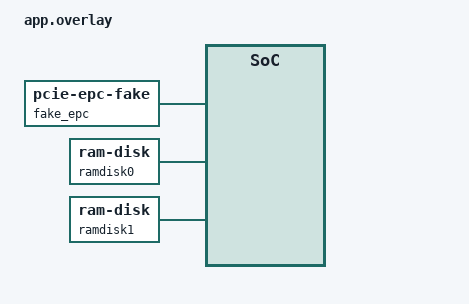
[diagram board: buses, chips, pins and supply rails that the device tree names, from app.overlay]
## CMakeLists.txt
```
# SPDX-License-Identifier: Apache-2.0

cmake_minimum_required(VERSION 3.20.0)
find_package(Zephyr REQUIRED HINTS $ENV{ZEPHYR_BASE})
project(pcie_epf_nvme)

target_sources(app PRIVATE src/main.c src/fake_epc.c)
target_include_directories(app PRIVATE ${ZEPHYR_BASE}/drivers/pcie/endpoint/functions)
```

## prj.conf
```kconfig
CONFIG_ZTEST=y
CONFIG_PCIE_ENDPOINT=y
CONFIG_PCIE_EPC=y
CONFIG_DISK_ACCESS=y
CONFIG_DISK_DRIVERS=y
CONFIG_DISK_DRIVER_RAM=y
CONFIG_LOG=y
CONFIG_PCIE_EP_LOG_LEVEL_INF=y
CONFIG_PCIE_EPF_NVME_MAX_IO_QUEUES=4
CONFIG_PCIE_EPF_NVME_MDTS_KB=32
# simulated time only moves when every thread sleeps
CONFIG_PCIE_EPF_NVME_BUSY_POLL_MS=0
CONFIG_PCIE_EPF_NVME_IDLE_POLL_US=100
CONFIG_PCIE_EPF_NVME_CC_POLL_MS=1
CONFIG_ZTEST_STACK_SIZE=8192
```

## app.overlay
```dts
/*
 * Copyright (c) 2026 Jiri Kastner
 * SPDX-License-Identifier: Apache-2.0
 */

/ {
	fake_epc: pcie-ep-fake {
		compatible = "zephyr,pcie-epc-fake";
		#address-cells = <1>;
		#size-cells = <0>;

		nvme0: function@0 {
			compatible = "zephyr,pcie-epf-nvme";
			reg = <0>;
			vendor-id = <0x11ab>;
			device-id = <0x0100>;
			/* replaced by the NVMe class */
			class-code = <0xff0000>;
			/* the third one does not exist: inactive namespace */
			disk-names = "RAM0", "RAM1", "NONE";
			io-queues = <3>;
			max-queue-entries = <64>;
			msix-interrupts = <8>;
		};
	};

	ramdisk0 {
		compatible = "zephyr,ram-disk";
		disk-name = "RAM0";
		sector-size = <512>;
		sector-count = <512>;
	};

	ramdisk1 {
		compatible = "zephyr,ram-disk";
		disk-name = "RAM1";
		sector-size = <4096>;
		sector-count = <32>;
	};
};
```

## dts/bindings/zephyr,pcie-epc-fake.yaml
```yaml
# Copyright (c) 2026 Jiri Kastner
# SPDX-License-Identifier: Apache-2.0

description: Test endpoint controller, host memory simulated in RAM

compatible: "zephyr,pcie-epc-fake"

include: pcie-ep-controller.yaml
```

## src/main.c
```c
/*
 * Copyright (c) 2026 Jiri Kastner
 *
 * SPDX-License-Identifier: Apache-2.0
 *
 * NVMe endpoint function against a fake controller: the test is the host
 * driver. It programs BAR0, places queues and data in the simulated host
 * memory, rings doorbells and checks completions, data on the RAM disks
 * and the interrupts raised.
 */

#include <string.h>
#include <zephyr/kernel.h>
#include <zephyr/ztest.h>
#include <zephyr/storage/disk_access.h>
#include <zephyr/sys/byteorder.h>
#include <zephyr/drivers/pcie/endpoint/pcie_epc.h>

#include "fake_epc.h"
#include "pcie_epf_nvme.h"

/* host memory layout */
#define ASQ    (HOST_BASE + 0x0000)
#define ACQ    (HOST_BASE + 0x1000)
#define IOSQ1  (HOST_BASE + 0x2000)
#define IOCQ1  (HOST_BASE + 0x3000)
#define IDBUF  (HOST_BASE + 0x4000)
#define PRPL   (HOST_BASE + 0x5000)
#define PRPL2  (HOST_BASE + 0x6000)
#define DATA   (HOST_BASE + 0x10000)
#define DATA2  (HOST_BASE + 0x30000)

#define ADMIN_DEPTH 8
#define IO_DEPTH    4

struct hq {
	uint64_t base;
	uint16_t qid;
	uint16_t depth;
	uint16_t idx;
	uint8_t phase;
};

static struct hq asq, acq, sq1, cq1;
static uint16_t next_cid;

static volatile uint32_t *bar(uint32_t off)
{
	return (volatile uint32_t *)((uint8_t *)fake_bar0.virt + off);
}

static uint32_t rd(uint32_t off)
{
	return *bar(off);
}

static void wr(uint32_t off, uint32_t v)
{
	*bar(off) = v;
}

static bool wait_csts(uint32_t mask, uint32_t val)
{
	for (int i = 0; i < 1000; i++) {
		if ((rd(NVME_REG_CSTS) & mask) == val) {
			return true;
		}
		k_sleep(K_MSEC(1));
	}
	return false;
}

/* submit, wait for the completion; returns the status field (no phase) */
static int submit(struct hq *sq, struct hq *cq, struct nvme_sqe *e, uint32_t *dw0)
{
	struct nvme_cqe *c;
	uint16_t cid = next_cid++;

	e->dw[0] = (e->dw[0] & 0xffffU) | ((uint32_t)cid << 16);
	memcpy(host_ptr(sq->base + sq->idx * 64U), e, 64);
	sq->idx = (sq->idx + 1U) % sq->depth;
	wr(NVME_SQ_DB(sq->qid), sq->idx);

	c = host_ptr(cq->base + cq->idx * 16U);
	for (int i = 0; i < 2000; i++) {
		if ((c->status & 1U) == cq->phase) {
			int status = c->status >> 1;

			zassert_equal(c->cid, cid, "cid %u, want %u", c->cid, cid);
			zassert_equal(c->sqid, sq->qid);
			zassert_equal(c->sqhd, sq->idx, "sqhd %u, want %u", c->sqhd, sq->idx);
			if (dw0 != NULL) {
				*dw0 = c->dw0;
			}
			cq->idx++;
			if (cq->idx == cq->depth) {
				cq->idx = 0;
				cq->phase ^= 1U;
			}
			wr(NVME_CQ_DB(cq->qid), cq->idx);
			return status;
		}
		k_sleep(K_MSEC(1));
	}
	return -ETIMEDOUT;
}

static int admin(struct nvme_sqe *e, uint32_t *dw0)
{
	return submit(&asq, &acq, e, dw0);
}

static int io(struct nvme_sqe *e)
{
	return submit(&sq1, &cq1, e, NULL);
}

static void ctrl_off(void)
{
	wr(NVME_REG_CC, 0);
	zassert_true(wait_csts(NVME_CSTS_RDY, 0), "RDY stays set");
}

static void ctrl_on(void)
{
	ctrl_off();
	memset(fake_host_mem, 0, 0x10000);
	asq = (struct hq){.base = ASQ, .qid = 0, .depth = ADMIN_DEPTH};
	acq = (struct hq){.base = ACQ, .qid = 0, .depth = ADMIN_DEPTH, .phase = 1};
	wr(NVME_REG_AQA, ((ADMIN_DEPTH - 1U) << 16) | (ADMIN_DEPTH - 1U));
	wr(NVME_REG_ASQ, (uint32_t)ASQ);
	wr(NVME_REG_ASQ + 4, (uint32_t)(ASQ >> 32));
	wr(NVME_REG_ACQ, (uint32_t)ACQ);
	wr(NVME_REG_ACQ + 4, (uint32_t)(ACQ >> 32));
	wr(NVME_REG_CC, NVME_CC_EN | (NVME_SQES << 16) | (NVME_CQES << 20));
	zassert_true(wait_csts(NVME_CSTS_RDY, NVME_CSTS_RDY), "no RDY: CC %08x CSTS %08x",
		     rd(NVME_REG_CC), rd(NVME_REG_CSTS));
}

static struct nvme_sqe cmd(uint8_t opc, uint32_t nsid)
{
	struct nvme_sqe e = {0};

	e.dw[0] = opc;
	e.dw[1] = nsid;
	return e;
}

static void set_prp(struct nvme_sqe *e, uint64_t prp1, uint64_t prp2)
{
	e->dw[6] = (uint32_t)prp1;
	e->dw[7] = (uint32_t)(prp1 >> 32);
	e->dw[8] = (uint32_t)prp2;
	e->dw[9] = (uint32_t)(prp2 >> 32);
}

static void io_queues_up(void)
{
	struct nvme_sqe e;
	uint32_t dw0;

	e = cmd(NVME_ADM_SET_FEAT, 0);
	e.dw[10] = NVME_FEAT_NUM_QUEUES;
	e.dw[11] = (7U << 16) | 7U;
	zassert_equal(admin(&e, &dw0), 0);
	/* io-queues = 3 */
	zassert_equal(dw0, (2U << 16) | 2U, "granted %08x", dw0);

	e = cmd(NVME_ADM_CREATE_CQ, 0);
	set_prp(&e, IOCQ1, 0);
	e.dw[10] = ((IO_DEPTH - 1U) << 16) | 1U;
	e.dw[11] = (1U << 16) | BIT(1) | BIT(0); /* vector 1 */
	zassert_equal(admin(&e, NULL), 0);

	e = cmd(NVME_ADM_CREATE_SQ, 0);
	set_prp(&e, IOSQ1, 0);
	e.dw[10] = ((IO_DEPTH - 1U) << 16) | 1U;
	e.dw[11] = (1U << 16) | BIT(0);
	zassert_equal(admin(&e, NULL), 0);

	sq1 = (struct hq){.base = IOSQ1, .qid = 1, .depth = IO_DEPTH};
	cq1 = (struct hq){.base = IOCQ1, .qid = 1, .depth = IO_DEPTH, .phase = 1};
}

static void *setup(void)
{
	/* BAR0 is set while the function initialises */
	zassert_not_null(fake_bar0.virt);
	return NULL;
}

static void before(void *f)
{
	ARG_UNUSED(f);
	fake_bme = true;
	ctrl_on();
}

ZTEST(epf_nvme, test_header_and_registers)
{
	uint64_t cap = rd(NVME_REG_CAP) | ((uint64_t)rd(NVME_REG_CAP + 4) << 32);

	zassert_equal(fake_hdr.baseclass, 0x01);
	zassert_equal(fake_hdr.subclass, 0x08);
	zassert_equal(fake_hdr.prog_if, 0x02);
	zassert_equal(fake_hdr.vendor_id, 0x11ab);
	zassert_true(fake_bar0.flags & PCIE_EPC_BAR_MEM64);

	zassert_equal(cap & 0xffff, 63, "MQES");
	zassert_true(cap & NVME_CAP_CQR);
	zassert_true(cap & NVME_CAP_CSS_NVM);
	zassert_equal((cap >> 32) & 0xf, 0, "DSTRD");
	zassert_equal(rd(NVME_REG_VS), NVME_VS(1, 4, 0));
	zassert_equal(rd(NVME_REG_CSTS), NVME_CSTS_RDY);
}

ZTEST(epf_nvme, test_identify)
{
	struct nvme_sqe e = cmd(NVME_ADM_IDENTIFY, 0);
	uint8_t *p = host_ptr(IDBUF);
	uint32_t *list = host_ptr(IDBUF);
	char sn[21] = {0};

	/* identify controller, buffer across a page: PRP1 offset + PRP2 */
	set_prp(&e, IDBUF + 0x800, IDBUF + 0x1000);
	e.dw[10] = NVME_CNS_CTRL;
	zassert_equal(admin(&e, NULL), 0);
	p += 0x800;
	zassert_equal(sys_get_le16(&p[NVME_IDC_VID]), 0x11ab);
	memcpy(sn, &p[NVME_IDC_SN], 20);
	zassert_mem_equal(sn, "0123456789abcdef    ", 20, "SN '%s'", sn);
	zassert_equal(p[NVME_IDC_MDTS], 3, "32 KiB / 4 KiB");
	zassert_equal(sys_get_le32(&p[NVME_IDC_NN]), 3);
	zassert_equal(p[NVME_IDC_SQES], 0x66);
	zassert_equal(p[NVME_IDC_CQES], 0x44);
	zassert_equal(sys_get_le32(&p[NVME_IDC_VER]), NVME_VS(1, 4, 0));
	zassert_true(strncmp((char *)&p[NVME_IDC_SUBNQN], "nqn.2014-08.org.zephyrproject:", 30) ==
		     0);

	/* active namespaces: 1 and 2, the third disk does not exist */
	e = cmd(NVME_ADM_IDENTIFY, 0);
	set_prp(&e, IDBUF, 0);
	e.dw[10] = NVME_CNS_NS_ACTIVE_LIST;
	zassert_equal(admin(&e, NULL), 0);
	zassert_equal(list[0], 1);
	zassert_equal(list[1], 2);
	zassert_equal(list[2], 0);

	p = host_ptr(IDBUF);
	e = cmd(NVME_ADM_IDENTIFY, 1);
	set_prp(&e, IDBUF, 0);
	e.dw[10] = NVME_CNS_NS;
	zassert_equal(admin(&e, NULL), 0);
	zassert_equal(sys_get_le64(&p[NVME_IDN_NSZE]), 512);
	zassert_equal(p[NVME_IDN_LBAF0 + 2], 9);
	zassert_equal(sys_get_be64(&p[NVME_IDN_NGUID]), FAKE_DSN);
	zassert_equal(sys_get_be32(&p[NVME_IDN_NGUID + 12]), 1);

	e = cmd(NVME_ADM_IDENTIFY, 2);
	set_prp(&e, IDBUF, 0);
	e.dw[10] = NVME_CNS_NS;
	zassert_equal(admin(&e, NULL), 0);
	zassert_equal(sys_get_le64(&p[NVME_IDN_NSZE]), 32);
	zassert_equal(p[NVME_IDN_LBAF0 + 2], 12);

	/* allocated, inactive: zeros */
	e = cmd(NVME_ADM_IDENTIFY, 3);
	set_prp(&e, IDBUF, 0);
	e.dw[10] = NVME_CNS_NS;
	zassert_equal(admin(&e, NULL), 0);
	zassert_equal(sys_get_le64(&p[NVME_IDN_NSZE]), 0);

	e = cmd(NVME_ADM_IDENTIFY, 4);
	set_prp(&e, IDBUF, 0);
	e.dw[10] = NVME_CNS_NS;
	zassert_equal(admin(&e, NULL), NVME_SC_INVALID_NS | NVME_STATUS_DNR);

	/* descriptors: NGUID, CSI */
	e = cmd(NVME_ADM_IDENTIFY, 2);
	set_prp(&e, IDBUF, 0);
	e.dw[10] = NVME_CNS_NS_DESC_LIST;
	zassert_equal(admin(&e, NULL), 0);
	zassert_equal(p[0], NVME_NIDT_NGUID);
	zassert_equal(p[1], 16);
	zassert_equal(sys_get_be32(&p[4 + 12]), 2);
	zassert_equal(p[20], NVME_NIDT_CSI);
	zassert_equal(p[24], NVME_CSI_NVM);

	e = cmd(NVME_ADM_IDENTIFY, 0);
	set_prp(&e, IDBUF, 0);
	e.dw[10] = 0x10;
	zassert_equal(admin(&e, NULL), NVME_SC_INVALID_FIELD | NVME_STATUS_DNR);
}

ZTEST(epf_nvme, test_admin_errors)
{
	struct nvme_sqe e = cmd(0x7f, 0);
	uint32_t dw0;

	zassert_equal(admin(&e, NULL), NVME_SC_INVALID_OPCODE | NVME_STATUS_DNR);

	/* SQ on a CQ that does not exist */
	e = cmd(NVME_ADM_CREATE_SQ, 0);
	set_prp(&e, IOSQ1, 0);
	e.dw[10] = (3U << 16) | 1U;
	e.dw[11] = (2U << 16) | BIT(0);
	zassert_equal(admin(&e, NULL), NVME_SC_CQ_INVALID | NVME_STATUS_DNR);

	/* queue beyond io-queues */
	e = cmd(NVME_ADM_CREATE_CQ, 0);
	set_prp(&e, IOCQ1, 0);
	e.dw[10] = (3U << 16) | 4U;
	e.dw[11] = BIT(0);
	zassert_equal(admin(&e, NULL), NVME_SC_QID_INVALID | NVME_STATUS_DNR);

	/* too deep */
	e.dw[10] = (64U << 16) | 1U;
	zassert_equal(admin(&e, NULL), NVME_SC_QUEUE_SIZE | NVME_STATUS_DNR);

	/* vector beyond the MSI-X table */
	e.dw[10] = (3U << 16) | 1U;
	e.dw[11] = (8U << 16) | BIT(1) | BIT(0);
	zassert_equal(admin(&e, NULL), NVME_SC_INVALID_VECTOR | NVME_STATUS_DNR);

	/* CQ in use by an SQ */
	io_queues_up();
	e = cmd(NVME_ADM_DELETE_CQ, 0);
	e.dw[10] = 1;
	zassert_equal(admin(&e, NULL), NVME_SC_QUEUE_DELETION | NVME_STATUS_DNR);
	e = cmd(NVME_ADM_DELETE_SQ, 0);
	e.dw[10] = 1;
	zassert_equal(admin(&e, NULL), 0);
	e = cmd(NVME_ADM_DELETE_CQ, 0);
	e.dw[10] = 1;
	zassert_equal(admin(&e, NULL), 0);

	e = cmd(NVME_ADM_GET_LOG, 0);
	set_prp(&e, IDBUF, 0);
	e.dw[10] = (127U << 16) | 0x7e;
	zassert_equal(admin(&e, NULL), NVME_SC_INVALID_LOG_PAGE | NVME_STATUS_DNR);

	e = cmd(NVME_ADM_GET_FEAT, 0);
	e.dw[10] = NVME_FEAT_NUM_QUEUES;
	zassert_equal(admin(&e, &dw0), 0);
	zassert_equal(dw0, (2U << 16) | 2U);

	e = cmd(NVME_ADM_SET_FEAT, 0);
	e.dw[10] = BIT(31) | NVME_FEAT_ARBITRATION;
	zassert_equal(admin(&e, NULL), NVME_SC_FEAT_NOT_SAVEABLE | NVME_STATUS_DNR);
}

static void fill(uint8_t *p, size_t len, uint8_t seed)
{
	for (size_t i = 0; i < len; i++) {
		p[i] = (uint8_t)(seed + i * 7U + (i >> 9));
	}
}

ZTEST(epf_nvme, test_read_write_prp_list)
{
	static uint8_t disk[16384];
	uint32_t irq0 = fake_irq_count[1];
	struct nvme_sqe e;
	uint64_t *prpl = host_ptr(PRPL);
	/* 12 KiB starting 0x200 into a page: 4 pages, scattered, through a list */
	uint64_t pages[4] = {DATA + 0x5200, DATA + 0x2000, DATA + 0x9000, DATA + 0xa000};
	uint8_t *src[4] = {host_ptr(pages[0]), host_ptr(pages[1]), host_ptr(pages[2]),
			   host_ptr(pages[3])};
	size_t len[4] = {0xe00, 0x1000, 0x1000, 0x200};

	io_queues_up();

	for (int i = 0; i < 4; i++) {
		fill(src[i], len[i], (uint8_t)(i * 31));
	}
	prpl[0] = pages[1];
	prpl[1] = pages[2];
	prpl[2] = pages[3];

	e = cmd(NVME_CMD_WRITE, 1);
	set_prp(&e, pages[0], PRPL);
	e.dw[10] = 100; /* SLBA */
	e.dw[12] = 24 - 1; /* 24 x 512 B */
	zassert_equal(io(&e), 0);

	zassert_ok(disk_access_read("RAM0", disk, 100, 24));
	for (int i = 0, off = 0; i < 4; off += len[i], i++) {
		zassert_mem_equal(&disk[off], src[i], len[i], "page %d", i);
	}

	/* and back, one contiguous buffer (pages merge into one segment) */
	memset(host_ptr(DATA2), 0, 0x4000);
	prpl[0] = DATA2 + 0x1000;
	prpl[1] = DATA2 + 0x2000;
	e = cmd(NVME_CMD_READ, 1);
	set_prp(&e, DATA2, PRPL);
	e.dw[10] = 100;
	e.dw[12] = 24 - 1;
	zassert_equal(io(&e), 0);
	zassert_mem_equal(host_ptr(DATA2), disk, 12288);

	zassert_true(fake_irq_count[1] > irq0, "no MSI-X on vector 1");
}

ZTEST(epf_nvme, test_chained_prp_list)
{
	static uint8_t disk[32768];
	uint64_t *l1 = host_ptr(PRPL + 0xff0);	/* two entries left in the page */
	uint64_t *l2 = host_ptr(PRPL2);
	struct nvme_sqe e;

	io_queues_up();

	/* 32 KiB = MDTS: 8 pages, every other one, list chains after one entry */
	for (int i = 0; i < 8; i++) {
		fill(host_ptr(DATA + i * 0x2000), 0x1000, (uint8_t)(i + 1));
	}
	l1[0] = DATA + 0x2000;
	l1[1] = PRPL2; /* chain */
	for (int i = 2; i < 8; i++) {
		l2[i - 2] = DATA + i * 0x2000;
	}

	e = cmd(NVME_CMD_WRITE, 2);
	set_prp(&e, DATA, PRPL + 0xff0);
	e.dw[10] = 4;
	e.dw[12] = 8 - 1; /* 8 x 4 KiB */
	zassert_equal(io(&e), 0);

	zassert_ok(disk_access_read("RAM1", disk, 4, 8));
	for (int i = 0; i < 8; i++) {
		zassert_mem_equal(&disk[i * 0x1000], host_ptr(DATA + i * 0x2000), 0x1000,
				  "page %d", i);
	}

	/* larger than MDTS */
	e.dw[12] = 9 - 1;
	zassert_equal(io(&e), NVME_SC_INVALID_FIELD | NVME_STATUS_DNR);
}

ZTEST(epf_nvme, test_io_errors_flush_zeroes)
{
	static uint8_t disk[4096];
	struct nvme_sqe e;

	io_queues_up();

	e = cmd(NVME_CMD_READ, 1);
	set_prp(&e, DATA, 0);
	e.dw[10] = 510;
	e.dw[12] = 3 - 1;
	zassert_equal(io(&e), NVME_SC_LBA_RANGE | NVME_STATUS_DNR);

	e = cmd(NVME_CMD_READ, 3);
	set_prp(&e, DATA, 0);
	zassert_equal(io(&e), NVME_SC_INVALID_NS | NVME_STATUS_DNR);

	e = cmd(0x7f, 1);
	zassert_equal(io(&e), NVME_SC_INVALID_OPCODE | NVME_STATUS_DNR);

	/* PRP1 not dword aligned */
	e = cmd(NVME_CMD_READ, 1);
	set_prp(&e, DATA + 2, 0);
	zassert_equal(io(&e), NVME_SC_PRP_INVALID_OFFSET | NVME_STATUS_DNR);

	memset(disk, 0x5a, sizeof(disk));
	zassert_ok(disk_access_write("RAM0", disk, 200, 8));
	e = cmd(NVME_CMD_WRITE_ZEROES, 1);
	e.dw[10] = 201;
	e.dw[12] = 6 - 1;
	zassert_equal(io(&e), 0);
	zassert_ok(disk_access_read("RAM0", disk, 200, 8));
	zassert_equal(disk[511], 0x5a);
	zassert_equal(disk[512], 0);
	zassert_equal(disk[7 * 512 - 1], 0);
	zassert_equal(disk[7 * 512], 0x5a);

	e = cmd(NVME_CMD_FLUSH, 1);
	zassert_equal(io(&e), 0);
	e = cmd(NVME_CMD_FLUSH, UINT32_MAX);
	zassert_equal(io(&e), 0);
}

ZTEST(epf_nvme, test_cq_wrap_and_smart)
{
	uint8_t *log = host_ptr(IDBUF);
	struct nvme_sqe e;
	uint64_t writes;

	io_queues_up();

	/* 3 x the queue depth: SQ and CQ wrap, phase flips */
	for (int i = 0; i < 3 * IO_DEPTH; i++) {
		e = cmd(NVME_CMD_WRITE, 1);
		set_prp(&e, DATA, 0);
		e.dw[10] = i;
		zassert_equal(io(&e), 0, "write %d", i);
	}
	zassert_equal(cq1.phase, 0);

	e = cmd(NVME_ADM_GET_LOG, 0);
	set_prp(&e, IDBUF, 0);
	e.dw[10] = ((NVME_LOG_SMART_SIZE / 4U - 1U) << 16) | NVME_LOG_SMART;
	zassert_equal(admin(&e, NULL), 0);
	writes = sys_get_le64(&log[NVME_SMART_HOST_WRITES]);
	zassert_true(writes >= 3 * IO_DEPTH, "host writes %llu", writes);
	zassert_equal(log[NVME_SMART_AVAIL_SPARE], 100);
}

ZTEST(epf_nvme, test_aer_held_and_shutdown)
{
	struct nvme_sqe e = cmd(NVME_ADM_AER, 0);
	uint16_t cid = next_cid++;
	struct nvme_cqe *c;

	/* no completion for an AER */
	e.dw[0] |= (uint32_t)cid << 16;
	memcpy(host_ptr(asq.base + asq.idx * 64U), &e, 64);
	asq.idx = (asq.idx + 1U) % asq.depth;
	wr(NVME_SQ_DB(0), asq.idx);
	k_sleep(K_MSEC(20));
	c = host_ptr(acq.base + acq.idx * 16U);
	zassert_not_equal(c->status & 1U, acq.phase, "AER completed");

	/* commands behind it still complete */
	e = cmd(NVME_ADM_KEEP_ALIVE, 0);
	zassert_equal(admin(&e, NULL), 0);

	/* normal shutdown */
	wr(NVME_REG_CC, rd(NVME_REG_CC) | (1U << 14));
	zassert_true(wait_csts(NVME_CSTS_SHST_MASK, NVME_CSTS_SHST_CMPLT), "no SHST complete");
}

ZTEST(epf_nvme, test_bad_config_and_bme)
{
	struct nvme_sqe e;

	/* 8 KiB pages are not supported: fatal status */
	ctrl_off();
	wr(NVME_REG_CC, NVME_CC_EN | (1U << 7) | (NVME_SQES << 16) | (NVME_CQES << 20));
	zassert_true(wait_csts(NVME_CSTS_CFS, NVME_CSTS_CFS), "no CFS");
	zassert_false(rd(NVME_REG_CSTS) & NVME_CSTS_RDY);
	ctrl_on();
	zassert_false(rd(NVME_REG_CSTS) & NVME_CSTS_CFS);

	/* no bus mastering: nothing is fetched until it is back */
	fake_bme = false;
	e = cmd(NVME_ADM_KEEP_ALIVE, 0);
	e.dw[0] |= (uint32_t)next_cid << 16;
	memcpy(host_ptr(asq.base + asq.idx * 64U), &e, 64);
	wr(NVME_SQ_DB(0), (asq.idx + 1U) % asq.depth);
	k_sleep(K_MSEC(20));
	zassert_not_equal(((struct nvme_cqe *)host_ptr(acq.base))->status & 1U, acq.phase);
	zassert_equal(fake_maps, 0, "outbound access without BME");
	fake_bme = true;
	/* resubmit through the helper: same slot, same doorbell value */
	zassert_equal(admin(&e, NULL), 0);
}

ZTEST(epf_nvme, test_link_down_resets)
{
	const struct device *epc = DEVICE_DT_GET(DT_NODELABEL(fake_epc));

	io_queues_up();
	/* host reboot: CC.EN left in the BAR must not survive */
	pcie_epc_notify(epc, PCIE_EPC_EVT_LINK_DOWN, 0xff);
	zassert_true(wait_csts(NVME_CSTS_RDY, 0), "still ready");
	zassert_equal(rd(NVME_REG_CC), 0);
	zassert_equal(rd(NVME_REG_VS), NVME_VS(1, 4, 0));

	/* and it comes up again from scratch */
	ctrl_on();
	io_queues_up();
}

ZTEST_SUITE(epf_nvme, NULL, setup, before, NULL, NULL);
```

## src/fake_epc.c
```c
/*
 * Copyright (c) 2026 Jiri Kastner
 *
 * SPDX-License-Identifier: Apache-2.0
 *
 * Endpoint controller stand-in: host memory is an array. An outbound
 * mapping copies the host range into the window when it is made; when it
 * is torn down, the bytes the endpoint changed go back to the host. The
 * test (the host) may write its own memory meanwhile.
 */

#define DT_DRV_COMPAT zephyr_pcie_epc_fake

#include <string.h>
#include <zephyr/device.h>
#include <zephyr/sys/util.h>
#include <zephyr/drivers/pcie/endpoint/pcie_epc.h>

#include "fake_epc.h"

#define WIN_SIZE (1024 * 1024)

uint8_t fake_host_mem[HOST_SIZE] __aligned(4096);
struct pcie_epc_header fake_hdr;
struct pcie_epc_bar fake_bar0;
uint32_t fake_irq_count[32];
uint32_t fake_maps;
bool fake_bme = true;
K_SEM_DEFINE(fake_irq_sem, 0, 1000);

static uint8_t window[WIN_SIZE] __aligned(WIN_SIZE);
static uint8_t shadow[WIN_SIZE];

static struct {
	uintptr_t cpu;
	uint64_t pci;
	size_t size;
} map[16];

struct fake_data {
	struct pcie_epc_data common; /* must be first */
};

static const struct pcie_epc_features feat = {
	.msi_capable = true,
	.msix_capable = true,
	.align = 256,
	.max_functions = 1,
	.bar_fixed_64bit = BIT(0),
};

static int fake_start(const struct device *dev)
{
	return 0;
}

static int fake_write_header(const struct device *dev, uint8_t func,
			     const struct pcie_epc_header *hdr)
{
	fake_hdr = *hdr;
	return 0;
}

static int fake_set_bar(const struct device *dev, uint8_t func, const struct pcie_epc_bar *bar)
{
	if (bar->barno == 0) {
		fake_bar0 = *bar;
	}
	return 0;
}

static void fake_clear_bar(const struct device *dev, uint8_t func, uint8_t barno)
{
}

/* host range of an outbound mapping, clipped to the simulated memory */
static size_t clip(uint64_t pci, size_t size)
{
	if (pci < HOST_BASE || pci >= HOST_BASE + HOST_SIZE) {
		return 0;
	}
	return MIN(size, (size_t)(HOST_BASE + HOST_SIZE - pci));
}

static int fake_map(const struct device *dev, uint8_t func, uintptr_t cpu, uint64_t pci,
		    size_t size)
{
	for (int i = 0; i < ARRAY_SIZE(map); i++) {
		if (map[i].size == 0) {
			map[i].cpu = cpu;
			map[i].pci = pci;
			map[i].size = size;
			memset((void *)cpu, 0xee, size);
			memcpy((void *)cpu, host_ptr(MAX(pci, HOST_BASE)), clip(pci, size));
			memcpy(&shadow[cpu - (uintptr_t)window], (void *)cpu, size);
			fake_maps++;
			return 0;
		}
	}
	return -ENOMEM;
}

static void fake_unmap(const struct device *dev, uint8_t func, uintptr_t cpu)
{
	for (int i = 0; i < ARRAY_SIZE(map); i++) {
		if (map[i].size != 0 && map[i].cpu == cpu) {
			uint8_t *w = (uint8_t *)cpu;
			uint8_t *sh = &shadow[cpu - (uintptr_t)window];
			uint8_t *h = host_ptr(MAX(map[i].pci, HOST_BASE));

			for (size_t j = 0; j < clip(map[i].pci, map[i].size); j++) {
				if (w[j] != sh[j]) {
					h[j] = w[j];
				}
			}
			map[i].size = 0;
			fake_maps--;
			return;
		}
	}
}

static int fake_set_msi(const struct device *dev, uint8_t func, uint8_t nr)
{
	return 0;
}

static int fake_get_msi(const struct device *dev, uint8_t func)
{
	return -EINVAL;
}

static int fake_set_msix(const struct device *dev, uint8_t func, uint16_t nr, uint8_t bir,
			 uint32_t off)
{
	return 0;
}

static int fake_get_msix(const struct device *dev, uint8_t func)
{
	return 8;
}

static int fake_raise_irq(const struct device *dev, uint8_t func, enum pcie_epc_irq_type type,
			  uint16_t irq_num)
{
	if (type != PCIE_EPC_IRQ_MSIX || irq_num == 0 || irq_num > ARRAY_SIZE(fake_irq_count)) {
		return -EINVAL;
	}
	fake_irq_count[irq_num - 1]++;
	k_sem_give(&fake_irq_sem);
	return 0;
}

static int fake_cfg_read(const struct device *dev, uint8_t func, uint32_t off, uint32_t *val)
{
	switch (off) {
	case 0x04:
		*val = fake_bme ? BIT(2) | BIT(1) : BIT(1);
		break;
	case 0x08:
		*val = ((uint32_t)fake_hdr.baseclass << 24) | ((uint32_t)fake_hdr.subclass << 16) |
		       ((uint32_t)fake_hdr.prog_if << 8);
		break;
	case 0x100:
		/* AER, next 0x150 */
		*val = 0x15010001;
		break;
	case 0x150:
		/* DSN, last */
		*val = 0x00010003;
		break;
	case 0x154:
		*val = (uint32_t)FAKE_DSN;
		break;
	case 0x158:
		*val = (uint32_t)(FAKE_DSN >> 32);
		break;
	default:
		*val = 0;
		break;
	}
	return 0;
}

static const struct pcie_epc_features *fake_features(const struct device *dev, uint8_t func)
{
	return &feat;
}

static bool fake_link_up(const struct device *dev)
{
	return true;
}

static DEVICE_API(pcie_epc, fake_api) = {
	.start = fake_start,
	.write_header = fake_write_header,
	.set_bar = fake_set_bar,
	.clear_bar = fake_clear_bar,
	.map_addr = fake_map,
	.unmap_addr = fake_unmap,
	.set_msi = fake_set_msi,
	.get_msi = fake_get_msi,
	.set_msix = fake_set_msix,
	.get_msix = fake_get_msix,
	.raise_irq = fake_raise_irq,
	.cfg_read = fake_cfg_read,
	.get_features = fake_features,
	.link_up = fake_link_up,
};

static int fake_init(const struct device *dev)
{
	struct pcie_epc_ob_window ob = {
		.cpu_base = (uintptr_t)window,
		.axi_base = 0x10000000,
		.size = WIN_SIZE,
		.page_size = 4096,
	};

	return pcie_epc_init_common(dev, &ob, false);
}

static struct fake_data fake_data0;
DEVICE_DT_INST_DEFINE(0, fake_init, NULL, &fake_data0, NULL, POST_KERNEL,
		      CONFIG_PCIE_EPC_INIT_PRIORITY, &fake_api);
```

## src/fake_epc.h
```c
/*
 * Copyright (c) 2026 Jiri Kastner
 *
 * SPDX-License-Identifier: Apache-2.0
 */

#ifndef FAKE_EPC_H_
#define FAKE_EPC_H_

#include <stdbool.h>
#include <stdint.h>
#include <zephyr/kernel.h>
#include <zephyr/drivers/pcie/endpoint/pcie_epc.h>

/* Host memory as the endpoint sees it: PCI addresses HOST_BASE.. */
#define HOST_BASE 0x100000000ULL
#define HOST_SIZE (256 * 1024)

extern uint8_t fake_host_mem[HOST_SIZE];
extern struct pcie_epc_header fake_hdr;
extern struct pcie_epc_bar fake_bar0;
extern uint32_t fake_irq_count[32];
extern uint32_t fake_maps;
extern bool fake_bme;
extern struct k_sem fake_irq_sem;

#define FAKE_DSN 0x0123456789abcdefULL

static inline void *host_ptr(uint64_t pci)
{
	return &fake_host_mem[pci - HOST_BASE];
}

#endif
```
